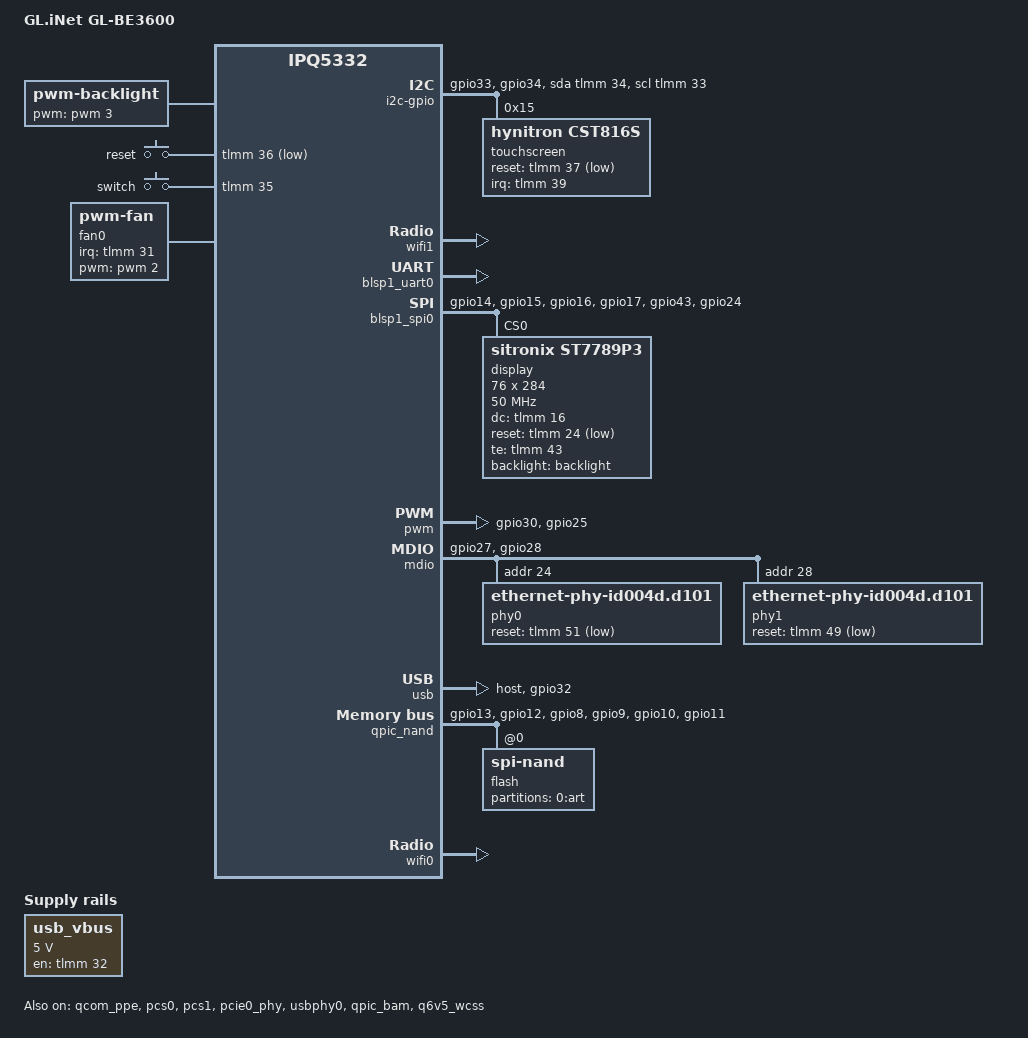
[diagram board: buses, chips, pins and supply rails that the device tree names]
// SPDX-License-Identifier: (GPL-2.0+ OR BSD-3-Clause)
/*
 * GL.iNet GL-BE3600 (Slate 7)
 *
 * IPQ5312 (IPQ5332 family) / AP-MI04.1-C2
 * - 2x QCA8081 2.5G PHYs: PPE port1 <- PCS0 <- PHY 0x1c (LAN),
 *                         PPE port2 <- PCS1 <- PHY 0x18 (WAN)
 * - QSPI NAND: Winbond W25N04KW 512 MiB (2k/128k), partitions from SMEM
 * - Wi-Fi: IPQ5332 integrated 2.4G (ath12k AHB, board-id 27)
 *          + QCN6432 5G (user PD 2, ath12k hybrid-bus patch 320, board-id 96)
 * - USB 3.0: dwc3 + M31 HS PHY + the PCIe0/USB combo uniphy as SS PHY,
 *   VBUS load switch enabled by GPIO32; PWM fan (ch2, tach GPIO31)
 * - Side screen: ST7789P3 76x284 SPI TFT on BLSP0 SPI (fbtft, native
 *   landscape fb0), PWM backlight (ch3), CST816S touch on bit-banged i2c
 * - No LEDs. Reset button GPIO36, slide switch GPIO35.
 *
 * Facts derived from the stock firmware 4.9.2 DTB and a running stock device.
 */

/dts-v1/;

#include <arm64/qcom/ipq5332.dtsi>

#include <dt-bindings/gpio/gpio.h>
#include <dt-bindings/input/input.h>
#include <dt-bindings/leds/common.h>
#include <dt-bindings/clock/qcom,ipq5332-nsscc.h>

/ {
	#address-cells = <0x2>;
	#size-cells = <0x2>;
	model = "GL.iNet GL-BE3600";
	compatible = "gl.inet,gl-be3600", "qcom,ipq5332";

	aliases {
		serial0 = &blsp1_uart0;
	};

	chosen {
		stdout-path = "serial0:115200n8";
		/* clk_ignore_unused: same as stock DTS - the late clk-disable
		 * pass kills U-Boot-enabled buses (eth/usb/wifi, even the
		 * display backlight) on this platform.
		 */
		bootargs-append = " root=/dev/ubiblock0_1 clk_ignore_unused";
	};

	reserved-memory {
		#address-cells = <2>;
		#size-cells = <2>;
		ranges;

		tzapp: tzapp@49600000 {
			reg = <0x0 0x49600000 0x0 0x00600000>;
			no-map;
		};

		/* Stock (QSDK) wifi memory map: the Q6 root PD code+data and PD1
		 * data end at 0x4d200000, then m3 dump / etr / caldb for the
		 * on-SoC radio, then the QCN6432 user-PD 2 regions, then the
		 * MLO global memory.
		 */
		m3_dump: m3-dump@4d200000 {
			reg = <0x0 0x4d200000 0x0 0x100000>;
			no-map;
		};

		q6_etr: q6-etr-dump@4d300000 {
			reg = <0x0 0x4d300000 0x0 0x100000>;
			no-map;
		};

		q6_caldb: q6-caldb@4d400000 {
			reg = <0x0 0x4d400000 0x0 0x500000>;
			no-map;
		};

		q6_qcn6432_data: q6-qcn6432-data@4d900000 {
			reg = <0x0 0x4d900000 0x0 0x1500000>;
			no-map;
		};

		m3_dump_qcn6432: m3-dump-qcn6432@4ee00000 {
			reg = <0x0 0x4ee00000 0x0 0x100000>;
			no-map;
		};

		q6_qcn6432_etr: q6-qcn6432-etr@4ef00000 {
			reg = <0x0 0x4ef00000 0x0 0x100000>;
			no-map;
		};

		q6_qcn6432_caldb: q6-qcn6432-caldb@4f000000 {
			reg = <0x0 0x4f000000 0x0 0x500000>;
			no-map;
		};

		mlo_mem: mlo-global-mem@4fa00000 {
			reg = <0x0 0x4fa00000 0x0 0x01200000>;
			no-map;
		};

		/* Crash log that survives a warm reset (pstore/ramoops), in the
		 * gap between the QCN6432 caldb and the MLO block. Read after
		 * the next boot from /sys/fs/pstore/.
		 */
		ramoops@4f600000 {
			compatible = "ramoops";
			reg = <0x0 0x4f600000 0x0 0x100000>;
			record-size = <0x20000>;
			console-size = <0x80000>;
			pmsg-size = <0>;
			ecc-size = <0>;
		};
	};

	/* USB port power. GPIO32 enables the 5 V VBUS load switch (stock exports
	 * it as "usb_power", off at reset, switched on by userspace, toggled
	 * off/on to power-cycle a wedged device). Modelled as a regulator and
	 * given to both USB PHYs as their supply - the ipq5332 PHY bindings
	 * describe vdd-supply as the port's 5 V rail on the reference boards -
	 * so VBUS is on exactly while the USB controller is bound and powered:
	 * no 5 V on the port before the driver runs, and unbinding or
	 * suspending dwc3 drops it.
	 */
	usb_vbus: regulator-usb-vbus {
		compatible = "regulator-fixed";
		regulator-name = "usb_vbus";
		regulator-min-microvolt = <5000000>;
		regulator-max-microvolt = <5000000>;
		gpio = <&tlmm 32 GPIO_ACTIVE_HIGH>;
		enable-active-high;
		pinctrl-0 = <&usb_pins>;
		pinctrl-names = "default";
	};

	/* Side-screen backlight: PWM channel 3 (gpio25), the stock 12-level
	 * table. fb_st7789p3 takes it over as fb0's backlight, so it comes on
	 * once the panel shows its first frame and FBIOBLANK switches it.
	 */
	backlight: backlight {
		compatible = "pwm-backlight";
		pwms = <&pwm 3 40000>;
		brightness-levels = <0 4 8 16 32 64 96 128 160 192 224 255>;
		default-brightness-level = <10>;
	};

	/* Touch controller bus: bit-banged i2c on gpio33/34, as stock (the
	 * pins are not on a BLSP i2c function).
	 */
	i2c-gpio {
		compatible = "i2c-gpio";
		pinctrl-0 = <&i2c_gpio_pins>;
		pinctrl-names = "default";
		sda-gpios = <&tlmm 34 (GPIO_ACTIVE_HIGH | GPIO_OPEN_DRAIN)>;
		scl-gpios = <&tlmm 33 (GPIO_ACTIVE_HIGH | GPIO_OPEN_DRAIN)>;
		i2c-gpio,delay-us = <2>;
		#address-cells = <1>;
		#size-cells = <0>;

		/* Hynitron CST816S. The controller is programmed for the panel and
		 * reports 0-283 x 0-75 with X mirrored against fb0 (measured:
		 * top-left tap = 281,1; top-right = 2,1; bottom-right = 3,70),
		 * so with touchscreen-inverted-x the events are fb0 coordinates.
		 * Gestures (patch 2996 makes them complete key events) in the
		 * binding's order: slide up, down, left, right, long press - the
		 * chip's left/right follow its mirrored X axis, so the keys are
		 * swapped to give the physical swipe direction (a left-to-right
		 * swipe = KEY_RIGHT).
		 */
		touchscreen@15 {
			compatible = "hynitron,cst816s";
			reg = <0x15>;
			pinctrl-0 = <&touch_pins>;
			pinctrl-names = "default";
			interrupt-parent = <&tlmm>;
			interrupts = <39 IRQ_TYPE_EDGE_FALLING>;
			reset-gpios = <&tlmm 37 GPIO_ACTIVE_LOW>;
			touchscreen-size-x = <284>;
			touchscreen-size-y = <76>;
			touchscreen-inverted-x;
			linux,keycodes = <KEY_UP>, <KEY_DOWN>, <KEY_RIGHT>, <KEY_LEFT>,
					 <KEY_MENU>;
		};
	};

	soc@0 {
		/* QCN6432 5 GHz radio: user PD 2 on the Q6 ("hybrid" device - no
		 * MMIO of its own, register window from firmware over QMI, GIC
		 * MSIs). PD interrupts/states are the stock pd2 smp2p bits.
		 */
		wifi1: wifi-qcn6432 {
			compatible = "qcom,qcn6432-wifi";
			msi-parent = <&v2m0>;
			interrupts-extended = <&smp2p_wcss_in 16 IRQ_TYPE_NONE>,
					      <&smp2p_wcss_in 17 IRQ_TYPE_NONE>,
					      <&smp2p_wcss_in 20 IRQ_TYPE_NONE>,
					      <&smp2p_wcss_in 19 IRQ_TYPE_NONE>;
			interrupt-names = "fatal",
					  "ready",
					  "spawn",
					  "stop-ack";
			qcom,smem-states = <&smp2p_wcss_out 16>,
					   <&smp2p_wcss_out 17>,
					   <&smp2p_wcss_out 18>;
			qcom,smem-state-names = "shutdown",
						"stop",
						"spawn";
			firmware-name = "ath12k/QCN6432/hw1.0/q6_fw2.mdt",
					"ath12k/QCN6432/hw1.0/iu_fw.mdt";
			/* q6_fw2 (0x4b4fd000) and iu_fw (0x4bd40000) are linked
			 * into the shared Q6 region like PD1's images; the PD's
			 * own host-DDR region (board data at its start) is the
			 * stock q6_qcn6432_data block.
			 */
			memory-region = <&q6_region>, <&m3_dump_qcn6432>,
					<&q6_qcn6432_caldb>, <&mlo_mem>,
					<&q6_qcn6432_data>;
			memory-region-names = "q6-region", "m3-dump", "q6-caldb",
					      "mlo-global-mem", "host-ddr-mem";
			/* BDF is downloaded to the start of host-ddr-mem
			 * (0x4d900000), matching the stock PD2 board-data slot.
			 */
			qcom,bdf-address-offset = <0>;
			qcom,ath12k-board-id = <96>;
			nvmem-cells = <&base_macaddr 3>;
			nvmem-cell-names = "mac-address";
			/* PD2 must be in the SMEM 507 table too: the root PD
			 * boots every user PD it finds there, in one shot.
			 */
			qcom,legacy-userpd-bootinfo;
			qcom,rproc = <&q6v5_wcss>;
			status = "okay";
		};

		gpio_keys {
			compatible = "gpio-keys";
			pinctrl-0 = <&button_pins>;
			pinctrl-names = "default";
			status = "okay";

			reset {
				label = "reset";
				linux,code = <KEY_RESTART>;
				gpios = <&tlmm 36 GPIO_ACTIVE_LOW>;
				linux,input-type = <1>;
			};

			/*
			 * Two-position slide switch. Stock declares this pin twice: GL's own
			 * node (soc/gpio_keys, paired with reset) says ACTIVE_HIGH; a
			 * root-level node left from the AP-MI04.1 reference design calls it
			 * a WPS button, ACTIVE_LOW. GL's is authoritative. Measured:
			 * back position = high, front = low.
			 *
			 * The code is deliberately not stock's: KEY_SETUP (0x8d) is absent
			 * from OpenWrt's gpio-button-hotplug button_map and would emit no
			 * event at all. BTN_0 + EV_SW gives BUTTON=BTN_0 TYPE=switch.
			 */
			switch {
				label = "switch";
				linux,code = <BTN_0>;
				linux,input-type = <EV_SW>;
				gpios = <&tlmm 35 GPIO_ACTIVE_HIGH>;
			};
		};

		fan0: pwm-fan {
			compatible = "pwm-fan";
			pinctrl-0 = <&fan_pins>;
			pinctrl-names = "default";
			pwms = <&pwm 2 40000>;
			interrupt-parent = <&tlmm>;
			interrupts = <31 IRQ_TYPE_EDGE_RISING>;
			pulses-per-revolution = <2>;
			cooling-levels = <0 64 128 255>;
			#cooling-cells = <2>;
		};
	};

	thermal-zones {
		cpu-top-thermal {
			polling-delay = <1000>;

			trips {
				fan_trip_high: active-high {
					temperature = <100000>;
					hysteresis = <2000>;
					type = "active";
				};

				fan_trip_med: active-med {
					temperature = <75000>;
					hysteresis = <2000>;
					type = "active";
				};

				fan_trip_low: active-low {
					temperature = <50000>;
					hysteresis = <2000>;
					type = "active";
				};
			};

			cooling-maps {
				fan-active-high {
					cooling-device = <&fan0 3 3>;
					trip = <&fan_trip_high>;
				};

				fan-active-med {
					cooling-device = <&fan0 2 2>;
					trip = <&fan_trip_med>;
				};

				fan-active-low {
					cooling-device = <&fan0 1 1>;
					trip = <&fan_trip_low>;
				};
			};
		};
	};
};

&blsp1_uart0 {
	pinctrl-0 = <&serial_0_pins>;
	pinctrl-names = "default";
	status = "okay";
};

/* BLSP0 SPI: the side-screen panel, stock pinmux (hardware CS0 on gpio17) */
&blsp1_spi0 {
	pinctrl-0 = <&spi0_pins>;
	pinctrl-names = "default";
	status = "okay";

	/* ST7789P3 76x284 TFT (fbtft driver fb_st7789p3, patch 2995). The
	 * panel is mounted as a landscape strip; rotate 90 gives a native
	 * 284x76 RGB565 /dev/fb0 that reads the right way up (the same
	 * orientation the spinner's software rotation 270 produced).
	 */
	display@0 {
		compatible = "sitronix,st7789p3";
		reg = <0>;
		spi-max-frequency = <50000000>;
		buswidth = <8>;
		width = <76>;
		height = <284>;
		rotate = <90>;
		fps = <40>;
		dc-gpios = <&tlmm 16 GPIO_ACTIVE_HIGH>;
		reset-gpios = <&tlmm 24 GPIO_ACTIVE_LOW>;
		te-gpios = <&tlmm 43 GPIO_ACTIVE_HIGH>;
		backlight = <&backlight>;
	};
};

&pwm {
	#pwm-cells = <2>;
	pinctrl-0 = <&pwm_pins>;
	pinctrl-names = "default";
	/* channel 2 = fan (gpio30); channel 3 = side-screen backlight (gpio25) */
	status = "okay";
};

&tlmm {
	/* mdio1_pins: gpio27 (mdc1) / gpio28 (mdio1). In the fivefold3
	 * tree these come from the mdio dtsi patch; this tree's mdio dtsi
	 * patch does not define them, so declare them here.
	 */
	mdio1_pins: mdio1-state {
		mux_0 {
			pins = "gpio27";
			function = "mdc1";
			drive-strength = <8>;
			bias-disable;
		};

		mux_1 {
			pins = "gpio28";
			function = "mdio1";
			drive-strength = <8>;
			bias-pull-up;
		};
	};

	qspi_nand_pins: qspi_nand_pins {
		qspi_clock {
			pins = "gpio13";
			function = "qspi_clk";
			drive-strength = <8>;
			bias-disable;
		};

		qspi_cs {
			pins = "gpio12";
			function = "qspi_cs";
			drive-strength = <8>;
			bias-disable;
		};

		qspi_data {
			pins = "gpio8", "gpio9", "gpio10", "gpio11";
			function = "qspi_data";
			drive-strength = <8>;
			bias-disable;
		};
	};

	button_pins: button_pins {
		reset_button {
			pins = "gpio36";
			function = "gpio";
			drive-strength = <8>;
			bias-pull-up;
		};

		switch_button {
			pins = "gpio35";
			function = "gpio";
			drive-strength = <8>;
			bias-pull-up;
		};
	};

	/* verbatim from stock: fan = pwm channel 2, backlight = channel 3 */
	pwm_pins: pwm_pinmux {
		pwm1 {
			pins = "gpio30";
			function = "pwm1";
			drive-strength = <8>;
		};

		pwm2 {
			pins = "gpio25";
			function = "pwm2";
			drive-strength = <8>;
			bias-pull-up;
		};
	};

	fan_pins: fan_pins {
		/*
		 * Fan supply enable, verbatim from stock. Without it the fan is never
		 * powered: measured: 0 rpm at pwm=255 and 2855 rpm at pwm=255
		 * with gpio29 driven high.
		 */
		pwr {
			pins = "gpio29";
			function = "gpio";
			bias-pull-up;
			output-high;
		};

		speed {
			pins = "gpio31";
			function = "gpio";
			drive-strength = <8>;
			bias-pull-down;
		};
	};

	usb_pins: usb_pins {
		/* VBUS switch enable, as stock: pulled down and low out of reset,
		 * the usb_vbus regulator drives it.
		 */
		usb_pwr {
			pins = "gpio32";
			function = "gpio";
			drive-strength = <8>;
			bias-pull-down;
			output-low;
		};
	};

	/* Side screen, verbatim from stock: gpio14/15 SPI clock and MOSI,
	 * gpio16 data/command (gpio), gpio17 hardware CS0, gpio43 tearing
	 * effect input, gpio24 panel reset.
	 */
	spi0_pins: spi0_pins {
		spi_clock {
			pins = "gpio14";
			function = "blsp0_spi";
			drive-strength = <2>;
			bias-pull-down;
		};

		spi_mosi {
			pins = "gpio15";
			function = "blsp0_spi";
			drive-strength = <2>;
			bias-pull-down;
		};

		spi_dc {
			pins = "gpio16";
			function = "gpio";
			drive-strength = <2>;
			bias-pull-down;
		};

		spi_cs {
			pins = "gpio17";
			function = "blsp0_spi";
			drive-strength = <2>;
			bias-pull-up;
		};

		te {
			pins = "gpio43";
			function = "gpio";
			drive-strength = <2>;
			bias-pull-up;
		};

		reset {
			pins = "gpio24";
			function = "gpio";
			drive-strength = <2>;
			bias-pull-up;
		};
	};

	i2c_gpio_pins: i2c_gpio_pins {
		i2c {
			pins = "gpio33", "gpio34";
			function = "gpio";
			drive-strength = <8>;
			bias-pull-up;
		};
	};

	touch_pins: touch_pins {
		touch_reset {
			pins = "gpio37";
			function = "gpio";
			drive-strength = <8>;
			bias-pull-up;
		};

		touch_irq {
			pins = "gpio39";
			function = "gpio";
			drive-strength = <8>;
			bias-pull-up;
		};
	};

	/* mdio1_pins (gpio27/28) comes from the dtsi (patch 0357) */
};

&mdio {
	status = "okay";
	pinctrl-0 = <&mdio1_pins>;
	pinctrl-names = "default";

	/* QCA8081, WAN, stock MDIO addr 0x18 */
	phy0: ethernet-phy@18 {
		compatible = "ethernet-phy-id004d.d101";
		reg = <24>;
		reset-gpios = <&tlmm 51 GPIO_ACTIVE_LOW>;
		reset-assert-us = <10000>;
		reset-deassert-us = <50000>;
	};

	/* QCA8081, LAN, stock MDIO addr 0x1c */
	phy1: ethernet-phy@1c {
		compatible = "ethernet-phy-id004d.d101";
		reg = <28>;
		reset-gpios = <&tlmm 49 GPIO_ACTIVE_LOW>;
		reset-assert-us = <10000>;
		reset-deassert-us = <50000>;
	};
};

&qcom_ppe {
	status = "okay";

	ethernet-ports {
		#address-cells = <1>;
		#size-cells = <0>;

		port@1 {
			reg = <1>;
			/* QSDK runs QCA8081 ports as uniphy SGMII with in-band
			 * (Atheros-mode) autoneg. The PCS only supports in-band for
			 * sgmii, so the initial mode must be sgmii; phylink switches
			 * to 2500base-x (out-of-band) for a 2.5G peer.
			 */
			phy-mode = "sgmii";
			managed = "in-band-status";
			label = "lan";
			nvmem-cells = <&base_macaddr 1>;
			nvmem-cell-names = "mac-address";
			pcs-handle = <&pcs0_ch0>;
			phy-handle = <&phy1>;
			clocks = <&nsscc NSS_CC_PORT1_MAC_CLK>,
				 <&nsscc NSS_CC_PORT1_RX_CLK>,
				 <&nsscc NSS_CC_PORT1_TX_CLK>;
			clock-names = "mac",
				      "rx",
				      "tx";
			resets = <&nsscc NSS_CC_PORT1_MAC_CLK_ARES>,
				 <&nsscc NSS_CC_PORT1_RX_CLK_ARES>,
				 <&nsscc NSS_CC_PORT1_TX_CLK_ARES>;
			reset-names = "mac",
				      "rx",
				      "tx";
		};

		port@2 {
			reg = <2>;
			/* QSDK runs QCA8081 ports as uniphy SGMII with in-band
			 * (Atheros-mode) autoneg. The PCS only supports in-band for
			 * sgmii, so the initial mode must be sgmii; phylink switches
			 * to 2500base-x (out-of-band) for a 2.5G peer.
			 */
			phy-mode = "sgmii";
			managed = "in-band-status";
			label = "wan";
			nvmem-cells = <&base_macaddr 0>;
			nvmem-cell-names = "mac-address";
			pcs-handle = <&pcs1_ch0>;
			phy-handle = <&phy0>;
			clocks = <&nsscc NSS_CC_PORT2_MAC_CLK>,
				 <&nsscc NSS_CC_PORT2_RX_CLK>,
				 <&nsscc NSS_CC_PORT2_TX_CLK>;
			clock-names = "mac",
				      "rx",
				      "tx";
			resets = <&nsscc NSS_CC_PORT2_MAC_CLK_ARES>,
				 <&nsscc NSS_CC_PORT2_RX_CLK_ARES>,
				 <&nsscc NSS_CC_PORT2_TX_CLK_ARES>;
			reset-names = "mac",
				      "rx",
				      "tx";
		};
	};
};

&pcs0 {
	status = "okay";
};

&pcs1 {
	status = "okay";
};

/*
 * phy@4b0000 is the PCIe0/USB3 combo uniphy: one serdes, muxed to either the
 * PCIe0 controller or the dwc3 SuperSpeed port by TCSR bit 0 at 0x1947540
 * (the usb node's qcom,phy-usb-mux-sel, written by dwc3-qcom before it takes
 * the controller out of reset). The Slate 7 has no PCIe0 device, so the node
 * is retargeted at the USB SuperSpeed PHY driver: USB clocks and reset (stock
 * ssuniphy@4b0000: pipe_clk, phy_cfg_ahb_clk, phy_ahb_clk, por_rst), the
 * USB init table, and its pipe clock output feeds gcc's usb0_pipe_clk_src.
 * Left under the PCIe PHY driver it would be programmed with PCIe Gen3
 * PLL/EIOS values and never train - a "dwc3 registers but nothing
 * enumerates" state. It stays a single node because dtc rejects
 * two nodes at one unit address.
 */
&pcie0_phy {
	compatible = "qcom,ipq5332-usb-uniphy";

	clocks = <&gcc GCC_USB0_PIPE_CLK>,
		 <&gcc GCC_USB0_PHY_CFG_AHB_CLK>,
		 <&gcc GCC_PCIE3X1_PHY_AHB_CLK>;
	clock-names = "pipe", "phy_cfg_ahb", "phy_ahb";

	resets = <&gcc GCC_USB0_PHY_BCR>;
	reset-names = "por_rst";

	#clock-cells = <0>;
	#phy-cells = <0>;
	clock-output-names = "usb0_pipe_clk_src";

	/* TCSR offset 0x10540 (absolute 0x1947540) muxes the shared
	 * PCIe0/USB serdes to USB; dwc3-qcom writes it before releasing
	 * the core, same value stock uses.
	 */
	qcom,phy-usb-mux-sel = <&tcsr 0x10540>;
	vdd-supply = <&usb_vbus>;

	/delete-property/ num-lanes;
	status = "okay";
};

&usb {
	/* Host-only port (Type-A), as stock's dwc3 node */
	dr_mode = "host";
	pinctrl-0 = <&usb_pins>;
	pinctrl-names = "default";

	clocks = <&gcc GCC_USB0_MASTER_CLK>,
		 <&gcc GCC_USB0_SLEEP_CLK>,
		 <&gcc GCC_USB0_MOCK_UTMI_CLK>,
		 <&gcc GCC_USB0_AUX_CLK>,
		 <&gcc GCC_USB0_LFPS_CLK>;
	clock-names = "core", "sleep", "mock_utmi", "aux", "lfps";

	/delete-property/ qcom,select-utmi-as-pipe-clk;
	status = "okay";
};

&usbphy0 {
	vdd-supply = <&usb_vbus>;
	status = "okay";
};

&qpic_nand {
	pinctrl-0 = <&qspi_nand_pins>;
	pinctrl-names = "default";
	status = "okay";

	flash@0 {
		compatible = "spi-nand";
		reg = <0>;
		#address-cells = <1>;
		#size-cells = <1>;
		nand-ecc-engine = <&qpic_nand>;
		nand-ecc-strength = <8>;
		nand-ecc-step-size = <512>;

		partitions {
			compatible = "qcom,smem-part";

			partition-0-art {
				label = "0:art";
				read-only;

				/* Factory addresses, as stock uses them:
				 * +0 wan, +1 lan, +2 2.4 GHz radio,
				 * +3 5 GHz radio.
				 */
				nvmem-layout {
					compatible = "fixed-layout";
					#address-cells = <1>;
					#size-cells = <1>;

					base_macaddr: mac-address@6 {
						compatible = "mac-base";
						reg = <0x6 0x6>;
						#nvmem-cell-cells = <1>;
					};
				};
			};
		};
	};
};

&qpic_bam {
	status = "okay";
};

/*
 * The bootstrap pins for the board select the XO clock frequency that
 * supports 48 MHZ or 96 MHZ. This setting automatically enables the
 * right dividers, to ensure the reference clock output from WiFi to
 * the CMN PLL is 48 MHZ.
 */
&ref_48mhz_clk {
	clock-div = <1>;
	clock-mult = <1>;
};

&sleep_clk {
	clock-frequency = <32000>;
};

/*
 * The frequency of xo_board is fixed to 24 MHZ, which is routed
 * from WiFi output clock 48 MHZ divided by 2.
 */
&xo_board {
	clock-div = <2>;
	clock-mult = <1>;
};

&xo_clk {
	clock-frequency = <48000000>;
};

/* Integrated 2.4 GHz radio (ath12k AHB); stock qcom,board_id = 0x1b */
/* Stock layout: root PD RO code (0x4a900000-0x4bd00000) followed by the
 * writable block the ath12k fixed-memory model carves in place:
 * BDF at +0x1400000 (0x4bd00000, stock PD1 board-data slot) and HOST_DDR
 * right after it, up to 0x4d200000.
 */
&q6_region {
	/* Must span both firmware segments: q6_fw1 loads at 0x4acfd000
	 * and iu_fw at 0x4bd40000, ending at 0x4bd8bff8. Stock splits
	 * this into q6_code_data + q6_ipq5332_data, but a single
	 * carveout works because qcom_mdt_load only checks that every
	 * segment falls inside this region.
	 */
	reg = <0x0 0x4a900000 0x0 0x2900000>;
};

&wifi0 {
	firmware-name = "ath12k/IPQ5332/hw1.0/q6_fw1.mdt",
			"ath12k/IPQ5332/hw1.0/iu_fw.mdt";
	memory-region = <&q6_region>, <&m3_dump>, <&q6_caldb>, <&mlo_mem>,
			<&q6_etr>;
	memory-region-names = "q6-region", "m3-dump", "q6-caldb",
			      "mlo-global-mem", "q6-etr-dump";
	/* BDF goes to 0x4bd00000 = q6-region base (0x4a900000) plus
	 * 0x1400000, where stock's q6_ipq5332_data starts. 918 keeps
	 * this region0+offset path alive: 903-20 alone would demand a
	 * named "host-ddr-mem" region and fail without one. The BDF is
	 * written only after the UserPD has copied iu_fw (0x4bd40000)
	 * into its own RAM, so the two share the carveout like stock.
	 */
	qcom,bdf-address-offset = <0x1400000>;
	/* ath12k would otherwise use the address the firmware invents */
	nvmem-cells = <&base_macaddr 2>;
	nvmem-cell-names = "mac-address";
	/* v10: the root PD discovers the user PDs (PD1 + PD2) from SMEM item
	 * 507, which ath12k builds from every node carrying this property,
	 * using this node's firmware-name for the load address. Keeping it
	 * here also makes the root-PD boot-args below travel with the table.
	 */
	qcom,legacy-userpd-bootinfo;
	qcom,rproc = <&q6v5_wcss>;
	status = "okay";
};

&q6v5_wcss {
	firmware-name = "ath12k/IPQ5332/hw1.0/q6_fw0.mdt";
	/* Raw boot-args record the stock kernel hands the root PD in SMEM item
	 * 507 ahead of the user-PD entries (type 1, length 5, payload
	 * 3 1 0x2f 2 0). Copied verbatim from the stock DTS.
	 *
	 * v10: this replaces the older qcom,bootargs_smem + upd-firmware-names
	 * pair. That pair made the remoteproc driver rewrite SMEM 507 inside
	 * rproc_boot(), i.e. *after* ath12k had already filled it, so the
	 * root-PD boot-args were dropped and the table was clobbered by a
	 * second, subtly different writer. Now ath12k is the only writer.
	 */
	boot-args = <1 5 3 1 0x2f 2 0>;
	status = "okay";
};
